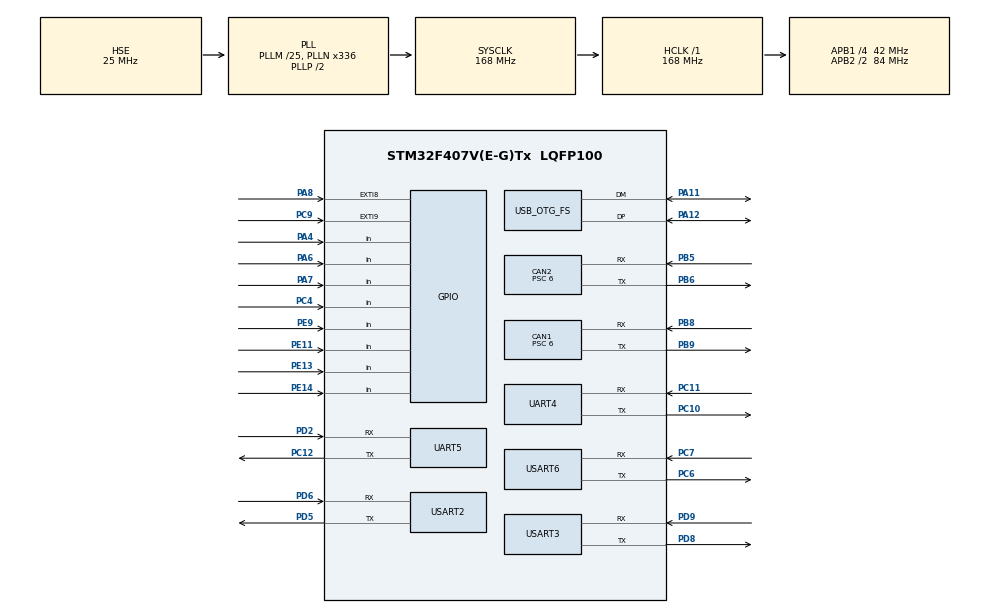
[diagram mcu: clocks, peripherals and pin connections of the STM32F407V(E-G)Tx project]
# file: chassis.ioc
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CAN1.BS1=CAN_BS1_3TQ
CAN1.BS2=CAN_BS2_3TQ
CAN1.CalculateBaudRate=1000000
CAN1.CalculateTimeBit=1000
CAN1.CalculateTimeQuantum=142.85714285714286
CAN1.Prescaler=6
CAN2.BS1=CAN_BS1_3TQ
CAN2.BS2=CAN_BS2_3TQ
CAN2.CalculateBaudRate=1000000
CAN2.CalculateTimeBit=1000
CAN2.CalculateTimeQuantum=142.85714285714286
CAN2.Mode=CAN_MODE_NORMAL
CAN2.Prescaler=6
Dma.Request0=UART4_RX
Dma.Request1=UART4_TX
Dma.Request2=UART5_RX
Dma.Request3=UART5_TX
Dma.Request4=USART3_RX
Dma.Request5=USART3_TX
Dma.Request6=USART2_TX
Dma.Request7=USART2_RX
Dma.Request8=USART6_RX
Dma.Request9=USART6_TX
Dma.UART4_RX.0.Direction=DMA_PERIPH_TO_MEMORY
Dma.UART4_RX.0.FIFOMode=DMA_FIFOMODE_DISABLE
Dma.UART4_RX.0.Instance=DMA1_Stream2
Dma.UART4_RX.0.MemDataAlignment=DMA_MDATAALIGN_BYTE
Dma.UART4_RX.0.MemInc=DMA_MINC_ENABLE
Dma.UART4_RX.0.Mode=DMA_NORMAL
Dma.UART4_RX.0.PeriphDataAlignment=DMA_PDATAALIGN_BYTE
Dma.UART4_RX.0.PeriphInc=DMA_PINC_DISABLE
Dma.UART4_RX.0.Priority=DMA_PRIORITY_LOW
Dma.UART4_TX.1.Direction=DMA_MEMORY_TO_PERIPH
Dma.UART4_TX.1.FIFOMode=DMA_FIFOMODE_DISABLE
Dma.UART4_TX.1.Instance=DMA1_Stream4
Dma.UART4_TX.1.MemDataAlignment=DMA_MDATAALIGN_BYTE
Dma.UART4_TX.1.MemInc=DMA_MINC_ENABLE
Dma.UART4_TX.1.Mode=DMA_NORMAL
Dma.UART4_TX.1.PeriphDataAlignment=DMA_PDATAALIGN_BYTE
Dma.UART4_TX.1.PeriphInc=DMA_PINC_DISABLE
Dma.UART4_TX.1.Priority=DMA_PRIORITY_LOW
Dma.UART5_RX.2.Direction=DMA_PERIPH_TO_MEMORY
Dma.UART5_RX.2.FIFOMode=DMA_FIFOMODE_DISABLE
Dma.UART5_RX.2.Instance=DMA1_Stream0
Dma.UART5_RX.2.MemDataAlignment=DMA_MDATAALIGN_BYTE
Dma.UART5_RX.2.MemInc=DMA_MINC_ENABLE
Dma.UART5_RX.2.Mode=DMA_NORMAL
Dma.UART5_RX.2.PeriphDataAlignment=DMA_PDATAALIGN_BYTE
Dma.UART5_RX.2.PeriphInc=DMA_PINC_DISABLE
Dma.UART5_RX.2.Priority=DMA_PRIORITY_LOW
Dma.UART5_TX.3.Direction=DMA_MEMORY_TO_PERIPH
Dma.UART5_TX.3.FIFOMode=DMA_FIFOMODE_DISABLE
Dma.UART5_TX.3.Instance=DMA1_Stream7
Dma.UART5_TX.3.MemDataAlignment=DMA_MDATAALIGN_BYTE
Dma.UART5_TX.3.MemInc=DMA_MINC_ENABLE
Dma.UART5_TX.3.Mode=DMA_NORMAL
Dma.UART5_TX.3.PeriphDataAlignment=DMA_PDATAALIGN_BYTE
Dma.UART5_TX.3.PeriphInc=DMA_PINC_DISABLE
Dma.UART5_TX.3.Priority=DMA_PRIORITY_LOW
Dma.USART2_RX.7.Direction=DMA_PERIPH_TO_MEMORY
Dma.USART2_RX.7.FIFOMode=DMA_FIFOMODE_DISABLE
Dma.USART2_RX.7.Instance=DMA1_Stream5
Dma.USART2_RX.7.MemDataAlignment=DMA_MDATAALIGN_BYTE
Dma.USART2_RX.7.MemInc=DMA_MINC_ENABLE
Dma.USART2_RX.7.Mode=DMA_NORMAL
Dma.USART2_RX.7.PeriphDataAlignment=DMA_PDATAALIGN_BYTE
Dma.USART2_RX.7.PeriphInc=DMA_PINC_DISABLE
Dma.USART2_RX.7.Priority=DMA_PRIORITY_LOW
Dma.USART2_TX.6.Direction=DMA_MEMORY_TO_PERIPH
Dma.USART2_TX.6.FIFOMode=DMA_FIFOMODE_DISABLE
Dma.USART2_TX.6.Instance=DMA1_Stream6
Dma.USART2_TX.6.MemDataAlignment=DMA_MDATAALIGN_BYTE
Dma.USART2_TX.6.MemInc=DMA_MINC_ENABLE
Dma.USART2_TX.6.Mode=DMA_NORMAL
Dma.USART2_TX.6.PeriphDataAlignment=DMA_PDATAALIGN_BYTE
Dma.USART2_TX.6.PeriphInc=DMA_PINC_DISABLE
Dma.USART2_TX.6.Priority=DMA_PRIORITY_LOW
Dma.USART3_RX.4.Direction=DMA_PERIPH_TO_MEMORY
Dma.USART3_RX.4.FIFOMode=DMA_FIFOMODE_DISABLE
Dma.USART3_RX.4.Instance=DMA1_Stream1
Dma.USART3_RX.4.MemDataAlignment=DMA_MDATAALIGN_BYTE
Dma.USART3_RX.4.MemInc=DMA_MINC_ENABLE
Dma.USART3_RX.4.Mode=DMA_NORMAL
Dma.USART3_RX.4.PeriphDataAlignment=DMA_PDATAALIGN_BYTE
Dma.USART3_RX.4.PeriphInc=DMA_PINC_DISABLE
Dma.USART3_RX.4.Priority=DMA_PRIORITY_LOW
Dma.USART3_TX.5.Direction=DMA_MEMORY_TO_PERIPH
Dma.USART3_TX.5.FIFOMode=DMA_FIFOMODE_DISABLE
Dma.USART3_TX.5.Instance=DMA1_Stream3
Dma.USART3_TX.5.MemDataAlignment=DMA_MDATAALIGN_BYTE
Dma.USART3_TX.5.MemInc=DMA_MINC_ENABLE
Dma.USART3_TX.5.Mode=DMA_NORMAL
Dma.USART3_TX.5.PeriphDataAlignment=DMA_PDATAALIGN_BYTE
Dma.USART3_TX.5.PeriphInc=DMA_PINC_DISABLE
Dma.USART3_TX.5.Priority=DMA_PRIORITY_LOW
Dma.USART6_RX.8.Direction=DMA_PERIPH_TO_MEMORY
Dma.USART6_RX.8.FIFOMode=DMA_FIFOMODE_DISABLE
Dma.USART6_RX.8.Instance=DMA2_Stream1
Dma.USART6_RX.8.MemDataAlignment=DMA_MDATAALIGN_BYTE
Dma.USART6_RX.8.MemInc=DMA_MINC_ENABLE
Dma.USART6_RX.8.Mode=DMA_NORMAL
Dma.USART6_RX.8.PeriphDataAlignment=DMA_PDATAALIGN_BYTE
Dma.USART6_RX.8.PeriphInc=DMA_PINC_DISABLE
Dma.USART6_RX.8.Priority=DMA_PRIORITY_LOW
Dma.USART6_TX.9.Direction=DMA_MEMORY_TO_PERIPH
Dma.USART6_TX.9.FIFOMode=DMA_FIFOMODE_DISABLE
Dma.USART6_TX.9.Instance=DMA2_Stream6
Dma.USART6_TX.9.MemDataAlignment=DMA_MDATAALIGN_BYTE
Dma.USART6_TX.9.MemInc=DMA_MINC_ENABLE
Dma.USART6_TX.9.Mode=DMA_NORMAL
Dma.USART6_TX.9.PeriphDataAlignment=DMA_PDATAALIGN_BYTE
Dma.USART6_TX.9.PeriphInc=DMA_PINC_DISABLE
Dma.USART6_TX.9.Priority=DMA_PRIORITY_LOW
FREERTOS.INCLUDE_uxTaskGetStackHighWaterMark=1
FREERTOS.INCLUDE_vTaskDelayUntil=1
FREERTOS.Tasks01=defaultTask,0,128,StartDefaultTask,Default,NULL,Dynamic,NULL,NULL
FREERTOS.configTOTAL_HEAP_SIZE=40960
FREERTOS.configUSE_TIMERS=1
Mcu.Family=STM32F4
Mcu.Name=STM32F407V(E-G)Tx
Mcu.Package=LQFP100
NVIC.CAN1_RX0_IRQn=true\:5\:0\:false\:false\:true\:true\:true\:true\:true
NVIC.CAN1_TX_IRQn=true\:5\:0\:false\:false\:true\:true\:true\:true\:true
NVIC.CAN2_RX1_IRQn=true\:5\:0\:false\:false\:true\:true\:true\:true\:true
NVIC.CAN2_TX_IRQn=true\:5\:0\:false\:false\:true\:true\:true\:true\:true
NVIC.DMA1_Stream0_IRQn=true\:5\:0\:false\:false\:true\:true\:false\:true\:true
NVIC.DMA1_Stream1_IRQn=true\:5\:0\:false\:false\:true\:true\:false\:true\:true
NVIC.DMA1_Stream2_IRQn=true\:5\:0\:false\:false\:true\:true\:false\:true\:true
NVIC.DMA1_Stream3_IRQn=true\:5\:0\:false\:false\:true\:true\:false\:true\:true
NVIC.DMA1_Stream4_IRQn=true\:5\:0\:false\:false\:true\:true\:false\:true\:true
NVIC.DMA1_Stream5_IRQn=true\:5\:0\:false\:false\:true\:true\:false\:true\:true
NVIC.DMA1_Stream6_IRQn=true\:5\:0\:false\:false\:true\:true\:false\:true\:true
NVIC.DMA1_Stream7_IRQn=true\:5\:0\:false\:false\:true\:true\:false\:true\:true
NVIC.DMA2_Stream1_IRQn=true\:5\:0\:false\:false\:true\:true\:false\:true\:true
NVIC.DMA2_Stream6_IRQn=true\:5\:0\:false\:false\:true\:true\:false\:true\:true
NVIC.EXTI9_5_IRQn=true\:5\:0\:false\:false\:true\:true\:true\:true\:true
NVIC.OTG_FS_IRQn=true\:5\:0\:false\:false\:true\:true\:false\:true\:true
NVIC.PriorityGroup=NVIC_PRIORITYGROUP_4
NVIC.TIM8_TRG_COM_TIM14_IRQn=true\:15\:0\:false\:false\:true\:false\:true\:true\:true
NVIC.TimeBase=TIM8_TRG_COM_TIM14_IRQn
NVIC.TimeBaseIP=TIM14
NVIC.UART4_IRQn=true\:5\:0\:false\:false\:true\:true\:true\:true\:true
NVIC.UART5_IRQn=true\:5\:0\:false\:false\:true\:true\:true\:true\:true
NVIC.USART2_IRQn=true\:5\:0\:false\:false\:true\:true\:true\:true\:true
NVIC.USART3_IRQn=true\:5\:0\:false\:false\:true\:true\:true\:true\:true
NVIC.USART6_IRQn=true\:5\:0\:false\:false\:true\:true\:true\:true\:true
PA11.Mode=Device_Only
PA11.Signal=USB_OTG_FS_DM
PA12.Mode=Device_Only
PA12.Signal=USB_OTG_FS_DP
PA13.Mode=Serial_Wire
PA13.Signal=SYS_JTMS-SWDIO
PA14.Mode=Serial_Wire
PA14.Signal=SYS_JTCK-SWCLK
PA4.GPIO_PuPd=GPIO_PULLDOWN
PA4.Signal=GPIO_Input
PA6.GPIO_PuPd=GPIO_PULLDOWN
PA6.Signal=GPIO_Input
PA7.GPIO_PuPd=GPIO_PULLDOWN
PA7.Signal=GPIO_Input
PA8.GPIO_ModeDefaultEXTI=GPIO_MODE_IT_RISING_FALLING
PA8.GPIO_PuPd=GPIO_PULLDOWN
PA8.Signal=GPXTI8
PB5.Mode=CAN_Activate
PB5.Signal=CAN2_RX
PB6.Mode=CAN_Activate
PB6.Signal=CAN2_TX
PB8.Mode=CAN_Activate
PB8.Signal=CAN1_RX
PB9.Mode=CAN_Activate
PB9.Signal=CAN1_TX
PC10.Mode=Asynchronous
PC10.Signal=UART4_TX
PC11.Mode=Asynchronous
PC11.Signal=UART4_RX
PC12.Mode=Asynchronous
PC12.Signal=UART5_TX
PC4.GPIO_PuPd=GPIO_PULLDOWN
PC4.Signal=GPIO_Input
PC6.Mode=Asynchronous
PC6.Signal=USART6_TX
PC7.Mode=Asynchronous
PC7.Signal=USART6_RX
PC9.GPIO_ModeDefaultEXTI=GPIO_MODE_IT_RISING_FALLING
PC9.GPIO_PuPd=GPIO_PULLDOWN
PC9.Signal=GPXTI9
PD2.Mode=Asynchronous
PD2.Signal=UART5_RX
PD5.Mode=Asynchronous
PD5.Signal=USART2_TX
PD6.Mode=Asynchronous
PD6.Signal=USART2_RX
PD8.Mode=Asynchronous
PD8.Signal=USART3_TX
PD9.Mode=Asynchronous
PD9.Signal=USART3_RX
PE11.GPIO_PuPd=GPIO_PULLDOWN
PE11.Signal=GPIO_Input
PE13.GPIO_PuPd=GPIO_PULLDOWN
PE13.Signal=GPIO_Input
PE14.GPIO_PuPd=GPIO_PULLDOWN
PE14.Signal=GPIO_Input
PE9.GPIO_PuPd=GPIO_PULLDOWN
PE9.Signal=GPIO_Input
PH0-OSC_IN.Mode=HSE-External-Oscillator
PH0-OSC_IN.Signal=RCC_OSC_IN
PH1-OSC_OUT.Mode=HSE-External-Oscillator
PH1-OSC_OUT.Signal=RCC_OSC_OUT
ProjectManager.HeapSize=0x1000
ProjectManager.StackSize=0x400
ProjectManager.TargetToolchain=MDK-ARM V5
RCC.48MHZClocksFreq_Value=48000000
RCC.AHBFreq_Value=168000000
RCC.APB1CLKDivider=RCC_HCLK_DIV4
RCC.APB1Freq_Value=42000000
RCC.APB1TimFreq_Value=84000000
RCC.APB2CLKDivider=RCC_HCLK_DIV2
RCC.APB2Freq_Value=84000000
RCC.APB2TimFreq_Value=168000000
RCC.CortexFreq_Value=168000000
RCC.HCLKFreq_Value=168000000
RCC.HSE_VALUE=25000000
RCC.HSI_VALUE=16000000
RCC.LSE_VALUE=32768
RCC.PLLM=25
RCC.PLLN=336
RCC.PLLQ=7
RCC.SYSCLKFreq_VALUE=168000000
RCC.SYSCLKSource=RCC_SYSCLKSOURCE_PLLCLK
RCC.VCOOutputFreq_Value=336000000
STMicroelectronics.X-CUBE-ALGOBUILD.1.4.0.LibraryCcDSPOoLibraryJjDSPOoLibrary=true
UART4.VirtualMode=Asynchronous
UART5.VirtualMode=Asynchronous
USART2.VirtualMode=VM_ASYNC
USART3.VirtualMode=VM_ASYNC
USART6.VirtualMode=VM_ASYNC
USB_DEVICE.CLASS_NAME_FS=CDC
USB_DEVICE.VirtualMode-CDC_FS=Cdc
USB_DEVICE.VirtualModeFS=Cdc_FS
USB_OTG_FS.VirtualMode=Device_Only
VP_FREERTOS_VS_CMSIS_V1.Mode=CMSIS_V1
VP_STMicroelectronics.X-CUBE-ALGOBUILD_VS_DSPOoLibraryJjLibrary_1.4.0_1.4.0.Mode=DSPOoLibraryJjLibrary
VP_SYS_VS_tim14.Mode=TIM14
VP_USB_DEVICE_VS_USB_DEVICE_CDC_FS.Mode=CDC_FS
board=custom

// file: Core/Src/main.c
/* USER CODE BEGIN Header */
/**
  ******************************************************************************
  * @file           : main.c
  * @brief          : Main program body
  ******************************************************************************
  * @attention
  *
  * Copyright (c) 2024 STMicroelectronics.
  * All rights reserved.
  *
  * This software is licensed under terms that can be found in the LICENSE file
  * in the root directory of this software component.
  * If no LICENSE file comes with this software, it is provided AS-IS.
  *
  ******************************************************************************
  */
/* USER CODE END Header */
#include "main.h"
#include "cmsis_os.h"
#include "can.h"
#include "dma.h"
#include "usart.h"
#include "usb_device.h"
#include "gpio.h"

/* USER CODE BEGIN Includes */
#include "RMLibHead.h"
#include "CANDRive.h"
#include "encoder.h"
#include "Task_Init.h"
/* USER CODE END Includes */

/* USER CODE BEGIN PD */
#define HAL_CAN_MODULE_ENABLED
/* USER CODE END PD */

/* USER CODE BEGIN PM */
extern CAN_HandleTypeDef hcan2;
/* USER CODE END PM */

/* USER CODE BEGIN PV */
extern Encoder_HandleTypeDef encoderA;
extern Encoder_HandleTypeDef encoderB;
extern Encoder_HandleTypeDef encoderC;
extern Encoder_HandleTypeDef encoderD;
/* USER CODE END PV */

void SystemClock_Config(void);
void MX_FREERTOS_Init(void);

int main(void)
{

  /* MCU Configuration--------------------------------------------------------*/

  /* Reset of all peripherals, Initializes the Flash interface and the Systick. */
  HAL_Init();

  /* Configure the system clock */
  SystemClock_Config();

  /* Initialize all configured peripherals */
  MX_GPIO_Init();
  MX_DMA_Init();
  MX_CAN1_Init();
  MX_CAN2_Init();
  MX_UART4_Init();
  MX_UART5_Init();
  MX_USART3_UART_Init();
  MX_USART2_UART_Init();
  MX_USART6_UART_Init();
  /* USER CODE BEGIN 2 */
	MX_USB_DEVICE_Init();
	CanFilter_Init(&hcan1);
	CanFilter_Init(&hcan2);
	HAL_CAN_Start(&hcan1);
	HAL_CAN_Start(&hcan2);
	HAL_CAN_ActivateNotification(&hcan1,CAN_IT_RX_FIFO0_MSG_PENDING);
	HAL_CAN_ActivateNotification(&hcan2,CAN_IT_RX_FIFO1_MSG_PENDING);
	Task_Init();
  /* USER CODE END 2 */

  /* Call init function for freertos objects (in cmsis_os2.c) */
  MX_FREERTOS_Init();

  /* Start scheduler */
  osKernelStart();

  /* We should never get here as control is now taken by the scheduler */

  /* Infinite loop */
  while (1)
  {

  }
}

void SystemClock_Config(void)
{
  RCC_OscInitTypeDef RCC_OscInitStruct = {0};
  RCC_ClkInitTypeDef RCC_ClkInitStruct = {0};

  /** Configure the main internal regulator output voltage
  */
  __HAL_RCC_PWR_CLK_ENABLE();
  __HAL_PWR_VOLTAGESCALING_CONFIG(PWR_REGULATOR_VOLTAGE_SCALE1);

  /** Initializes the RCC Oscillators according to the specified parameters
  * in the RCC_OscInitTypeDef structure.
  */
  RCC_OscInitStruct.OscillatorType = RCC_OSCILLATORTYPE_HSE;
  RCC_OscInitStruct.HSEState = RCC_HSE_ON;
  RCC_OscInitStruct.PLL.PLLState = RCC_PLL_ON;
  RCC_OscInitStruct.PLL.PLLSource = RCC_PLLSOURCE_HSE;
  RCC_OscInitStruct.PLL.PLLM = 25;
  RCC_OscInitStruct.PLL.PLLN = 336;
  RCC_OscInitStruct.PLL.PLLP = RCC_PLLP_DIV2;
  RCC_OscInitStruct.PLL.PLLQ = 7;
  if (HAL_RCC_OscConfig(&RCC_OscInitStruct) != HAL_OK)
  {
    Error_Handler();
  }

  /** Initializes the CPU, AHB and APB buses clocks
  */
  RCC_ClkInitStruct.ClockType = RCC_CLOCKTYPE_HCLK|RCC_CLOCKTYPE_SYSCLK
                              |RCC_CLOCKTYPE_PCLK1|RCC_CLOCKTYPE_PCLK2;
  RCC_ClkInitStruct.SYSCLKSource = RCC_SYSCLKSOURCE_PLLCLK;
  RCC_ClkInitStruct.AHBCLKDivider = RCC_SYSCLK_DIV1;
  RCC_ClkInitStruct.APB1CLKDivider = RCC_HCLK_DIV4;
  RCC_ClkInitStruct.APB2CLKDivider = RCC_HCLK_DIV2;

  if (HAL_RCC_ClockConfig(&RCC_ClkInitStruct, FLASH_LATENCY_5) != HAL_OK)
  {
    Error_Handler();
  }
}

void HAL_TIM_PeriodElapsedCallback(TIM_HandleTypeDef *htim)
{
  if (htim->Instance == TIM14)
  {
    HAL_IncTick();
  }
}

void Error_Handler(void)
{
  __disable_irq();
  while (1)
  {
  }
}

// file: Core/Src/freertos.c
/* USER CODE BEGIN Header */
/**
  ******************************************************************************
  * File Name          : freertos.c
  * Description        : Code for freertos applications
  ******************************************************************************
  * @attention
  *
  * Copyright (c) 2024 STMicroelectronics.
  * All rights reserved.
  *
  * This software is licensed under terms that can be found in the LICENSE file
  * in the root directory of this software component.
  * If no LICENSE file comes with this software, it is provided AS-IS.
  *
  ******************************************************************************
  */
/* USER CODE END Header */

#include "FreeRTOS.h"
#include "task.h"
#include "main.h"
#include "cmsis_os.h"

/* USER CODE BEGIN Includes */
#include "Task_Init.h"
#include "semphr.h"
#include "comm_stm32_hal_middle.h"
/* USER CODE END Includes */

/* USER CODE BEGIN PD */
SemaphoreHandle_t Remote_semaphore;
uint16_t _stack[12] = {0};
extern TaskHandle_t Wheel_Handles[3];
extern TaskHandle_t Can_Send_Handle;
extern TaskHandle_t task_handle;
extern TaskHandle_t SendDataPackTask_handle;
extern TaskHandle_t ReceiveDataPackTask_handle;
extern TaskHandle_t ACKTimeoutCheckTask_handle;
extern CommHandle_t *g_comm_handle;
extern TaskHandle_t Remote_Analysis_Handle;
/* USER CODE END PD */

osThreadId defaultTaskHandle;

void StartDefaultTask(void const * argument);

extern void MX_USB_DEVICE_Init(void);
void MX_FREERTOS_Init(void); /* (MISRA C 2004 rule 8.1) */

/* GetIdleTaskMemory prototype (linked to static allocation support) */
void vApplicationGetIdleTaskMemory( StaticTask_t **ppxIdleTaskTCBBuffer, StackType_t **ppxIdleTaskStackBuffer, uint32_t *pulIdleTaskStackSize );

/* GetTimerTaskMemory prototype (linked to static allocation support) */
void vApplicationGetTimerTaskMemory( StaticTask_t **ppxTimerTaskTCBBuffer, StackType_t **ppxTimerTaskStackBuffer, uint32_t *pulTimerTaskStackSize );

/* USER CODE BEGIN GET_IDLE_TASK_MEMORY */
static StaticTask_t xIdleTaskTCBBuffer;
static StackType_t xIdleStack[configMINIMAL_STACK_SIZE];

void vApplicationGetIdleTaskMemory( StaticTask_t **ppxIdleTaskTCBBuffer, StackType_t **ppxIdleTaskStackBuffer, uint32_t *pulIdleTaskStackSize )
{
  *ppxIdleTaskTCBBuffer = &xIdleTaskTCBBuffer;
  *ppxIdleTaskStackBuffer = &xIdleStack[0];
  *pulIdleTaskStackSize = configMINIMAL_STACK_SIZE;
  /* place for user code */
}
/* USER CODE END GET_IDLE_TASK_MEMORY */

/* USER CODE BEGIN GET_TIMER_TASK_MEMORY */
static StaticTask_t xTimerTaskTCBBuffer;
static StackType_t xTimerStack[configTIMER_TASK_STACK_DEPTH];

void vApplicationGetTimerTaskMemory( StaticTask_t **ppxTimerTaskTCBBuffer, StackType_t **ppxTimerTaskStackBuffer, uint32_t *pulTimerTaskStackSize )
{
  *ppxTimerTaskTCBBuffer = &xTimerTaskTCBBuffer;
  *ppxTimerTaskStackBuffer = &xTimerStack[0];
  *pulTimerTaskStackSize = configTIMER_TASK_STACK_DEPTH;
  /* place for user code */
}
/* USER CODE END GET_TIMER_TASK_MEMORY */

void MX_FREERTOS_Init(void) {

  /* USER CODE BEGIN RTOS_QUEUES */
  /* add queues, ... */
  Remote_semaphore =xSemaphoreCreateBinary();
  /* USER CODE END RTOS_QUEUES */

  /* Create the thread(s) */
  /* definition and creation of defaultTask */
  osThreadDef(defaultTask, StartDefaultTask, osPriorityNormal, 0, 128);
  defaultTaskHandle = osThreadCreate(osThread(defaultTask), NULL);

}

void StartDefaultTask(void const * argument)
{
  /* init code for USB_DEVICE */
  MX_USB_DEVICE_Init();
  /* USER CODE BEGIN StartDefaultTask */
  /* Infinite loop */
  for(;;)
  {
		_stack[0]=uxTaskGetStackHighWaterMark(Wheel_Handles[0]);
		_stack[1]=uxTaskGetStackHighWaterMark(Wheel_Handles[1]);
		_stack[2]=uxTaskGetStackHighWaterMark(Wheel_Handles[2]);
		_stack[3]=uxTaskGetStackHighWaterMark(Can_Send_Handle);
		_stack[4]=uxTaskGetStackHighWaterMark(task_handle);
		_stack[5]=uxTaskGetStackHighWaterMark(SendDataPackTask_handle);
		_stack[6]=uxTaskGetStackHighWaterMark(ReceiveDataPackTask_handle);
		_stack[7]=uxTaskGetStackHighWaterMark(ACKTimeoutCheckTask_handle);
		_stack[8]=uxTaskGetStackHighWaterMark(defaultTaskHandle);
		_stack[9]=uxTaskGetStackHighWaterMark(g_comm_handle->tx_task_handle);
		_stack[10]=uxTaskGetStackHighWaterMark(Remote_Analysis_Handle);
    osDelay(1000);
  }
  /* USER CODE END StartDefaultTask */
}
